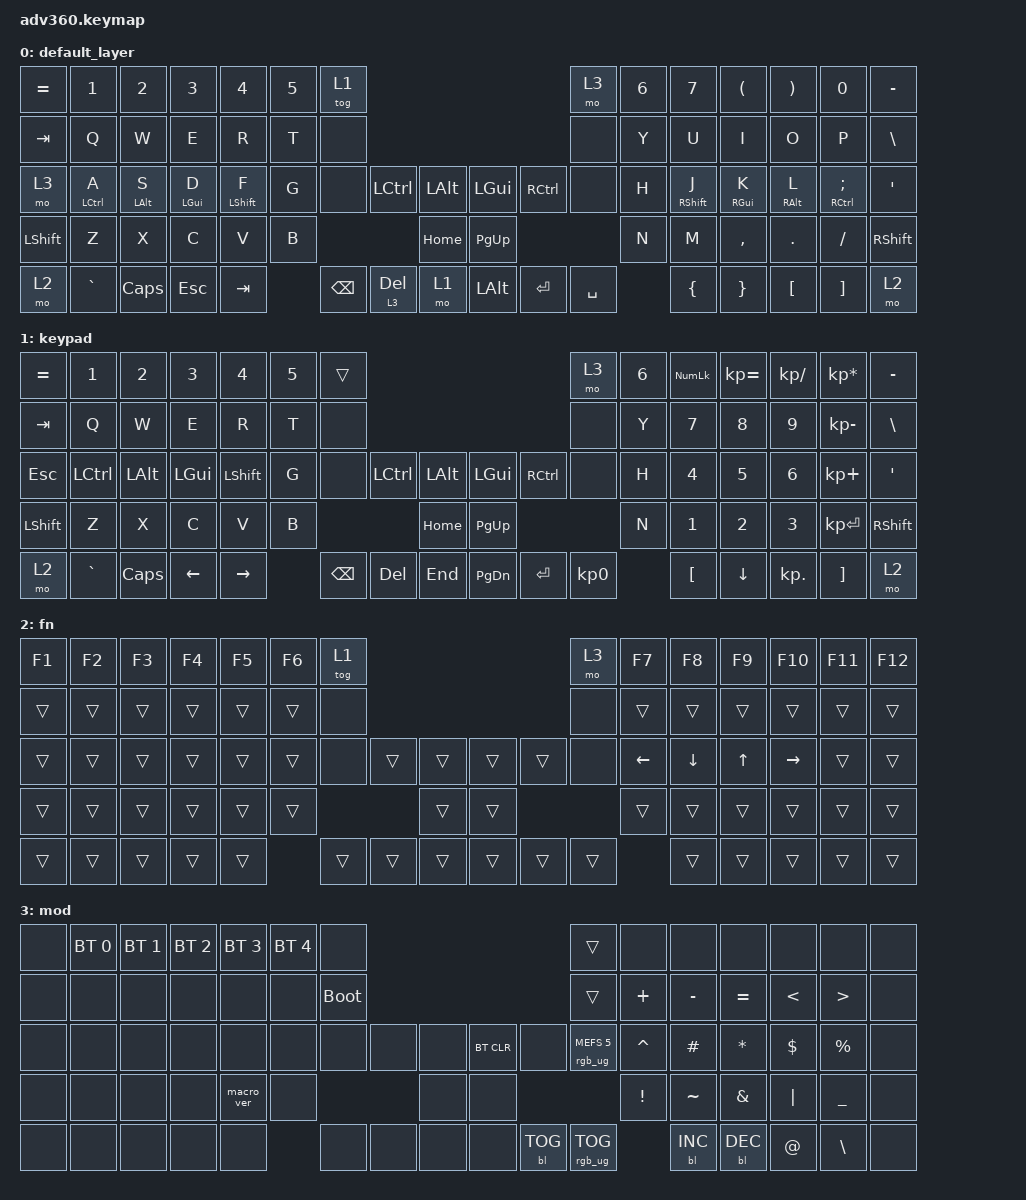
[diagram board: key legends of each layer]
#include <behaviors.dtsi>
#include <dt-bindings/zmk/backlight.h>
#include <dt-bindings/zmk/bt.h>
#include <dt-bindings/zmk/keys.h>
#include <dt-bindings/zmk/rgb.h>

/ {
    behaviors {
        #include "macros.dtsi"
      #include "version.dtsi"
      #ifndef VERSION_MACRO

        macro_ver: macro_ver {
            compatible = "zmk,behavior-macro";
            label = "macro_version";
            #binding-cells = <0>;
            bindings = <&kp RET>;
        };

        #endif

        hm: homerow_mods {
            compatible = "zmk,behavior-hold-tap";
            label = "HOMEROW_MODS";
            #binding-cells = <2>;
            tapping-term-ms = <200>;
            quick_tap_ms = <175>;
            flavor = "tap-preferred";
            bindings = <&kp>, <&kp>;
        };
    };

    macros {
    };

    keymap {
        compatible = "zmk,keymap";

        default_layer {
            bindings = <
&kp EQUAL  &kp N1              &kp N2          &kp N3          &kp N4            &kp N5  &tog 1                                                      &mo 3      &kp N6  &kp N7             &kp LEFT_PARENTHESIS  &kp RIGHT_PARENTHESIS  &kp N0                  &kp MINUS
&kp TAB    &kp Q               &kp W           &kp E           &kp R             &kp T   &none                                                       &none      &kp Y   &kp U              &kp I                 &kp O                  &kp P                   &kp BSLH
&mo 3      &hm LEFT_CONTROL A  &hm LEFT_ALT S  &hm LEFT_GUI D  &hm LEFT_SHIFT F  &kp G   &none     &kp LCTRL  &kp LALT      &kp LGUI      &kp RCTRL  &none      &kp H   &hm RIGHT_SHIFT J  &hm RIGHT_GUI K       &hm RIGHT_ALT L        &hm RIGHT_CONTROL SEMI  &kp SQT
&kp LSHFT  &kp Z               &kp X           &kp C           &kp V             &kp B                        &kp HOME      &kp PG_UP                           &kp N   &kp M              &kp COMMA             &kp DOT                &kp FSLH                &kp RSHFT
&mo 2      &kp GRAVE           &kp CAPS        &kp ESCAPE      &kp TAB                   &kp BSPC  &lt 3 DEL  &mo 1         &kp LEFT_ALT  &kp ENTER  &kp SPACE          &kp LEFT_BRACE     &kp RIGHT_BRACE       &kp LBKT               &kp RBKT                &mo 2
            >;
        };

        keypad {
            bindings = <
&kp EQUAL  &kp N1            &kp N2        &kp N3        &kp N4          &kp N5  &trans                                                   &mo 3      &kp N6  &kp KP_NUM        &kp KP_EQUAL  &kp KP_DIVIDE  &kp KP_MULTIPLY  &kp MINUS
&kp TAB    &kp Q             &kp W         &kp E         &kp R           &kp T   &none                                                    &none      &kp Y   &kp N7            &kp N8        &kp N9         &kp KP_MINUS     &kp BSLH
&kp ESC    &kp LEFT_CONTROL  &kp LEFT_ALT  &kp LEFT_GUI  &kp LEFT_SHIFT  &kp G   &none     &kp LCTRL  &kp LALT      &kp LGUI   &kp RCTRL  &none      &kp H   &kp NUMBER_4      &kp N5        &kp NUMBER_6   &kp KP_PLUS      &kp SQT
&kp LSHFT  &kp Z             &kp X         &kp C         &kp V           &kp B                        &kp HOME      &kp PG_UP                        &kp N   &kp NUMBER_1      &kp NUMBER_2  &kp NUMBER_3   &kp KP_ENTER     &kp RSHFT
&mo 2      &kp GRAVE         &kp CAPS      &kp LEFT      &kp RIGHT               &kp BSPC  &kp DEL    &kp END       &kp PG_DN  &kp ENTER  &kp KP_N0          &kp LEFT_BRACKET  &kp DOWN      &kp KP_DOT     &kp RBKT         &mo 2
            >;
        };

        fn {
            bindings = <
&kp F1  &kp F2  &kp F3  &kp F4  &kp F5  &kp F6  &tog 1                                      &mo 3   &kp F7    &kp F8    &kp F9        &kp F10    &kp F11  &kp F12
&trans  &trans  &trans  &trans  &trans  &trans  &none                                       &none   &trans    &trans    &trans        &trans     &trans   &trans
&trans  &trans  &trans  &trans  &trans  &trans  &none   &trans  &trans      &trans  &trans  &none   &kp LEFT  &kp DOWN  &kp UP_ARROW  &kp RIGHT  &trans   &trans
&trans  &trans  &trans  &trans  &trans  &trans                  &trans      &trans                  &trans    &trans    &trans        &trans     &trans   &trans
&trans  &trans  &trans  &trans  &trans          &trans  &trans  &trans      &trans  &trans  &trans            &trans    &trans        &trans     &trans   &trans
            >;
        };

        mod {
            bindings = <
&none  &bt BT_SEL 0  &bt BT_SEL 1  &bt BT_SEL 2  &bt BT_SEL 3  &bt BT_SEL 4  &none                                                  &trans                  &none      &none       &none       &none          &none             &none
&none  &none         &none         &none         &none         &none         &bootloader                                            &trans                  &kp PLUS   &kp MINUS   &kp EQUAL   &kp LESS_THAN  &kp GREATER_THAN  &none
&none  &none         &none         &none         &none         &none         &none        &none  &none      &bt BT_CLR  &none       &rgb_ug RGB_MEFS_CMD 5  &kp CARET  &kp HASH    &kp STAR    &kp DOLLAR     &kp PERCENT       &none
&none  &none         &none         &none         &macro_ver    &none                             &none      &none                                           &kp EXCL   &kp TILDE   &kp AMPS    &kp PIPE       &kp UNDER         &none
&none  &none         &none         &none         &none                       &none        &none  &none      &none       &bl BL_TOG  &rgb_ug RGB_TOG                    &bl BL_INC  &bl BL_DEC  &kp AT_SIGN    &kp BACKSLASH     &none
            >;
        };
    };
};
